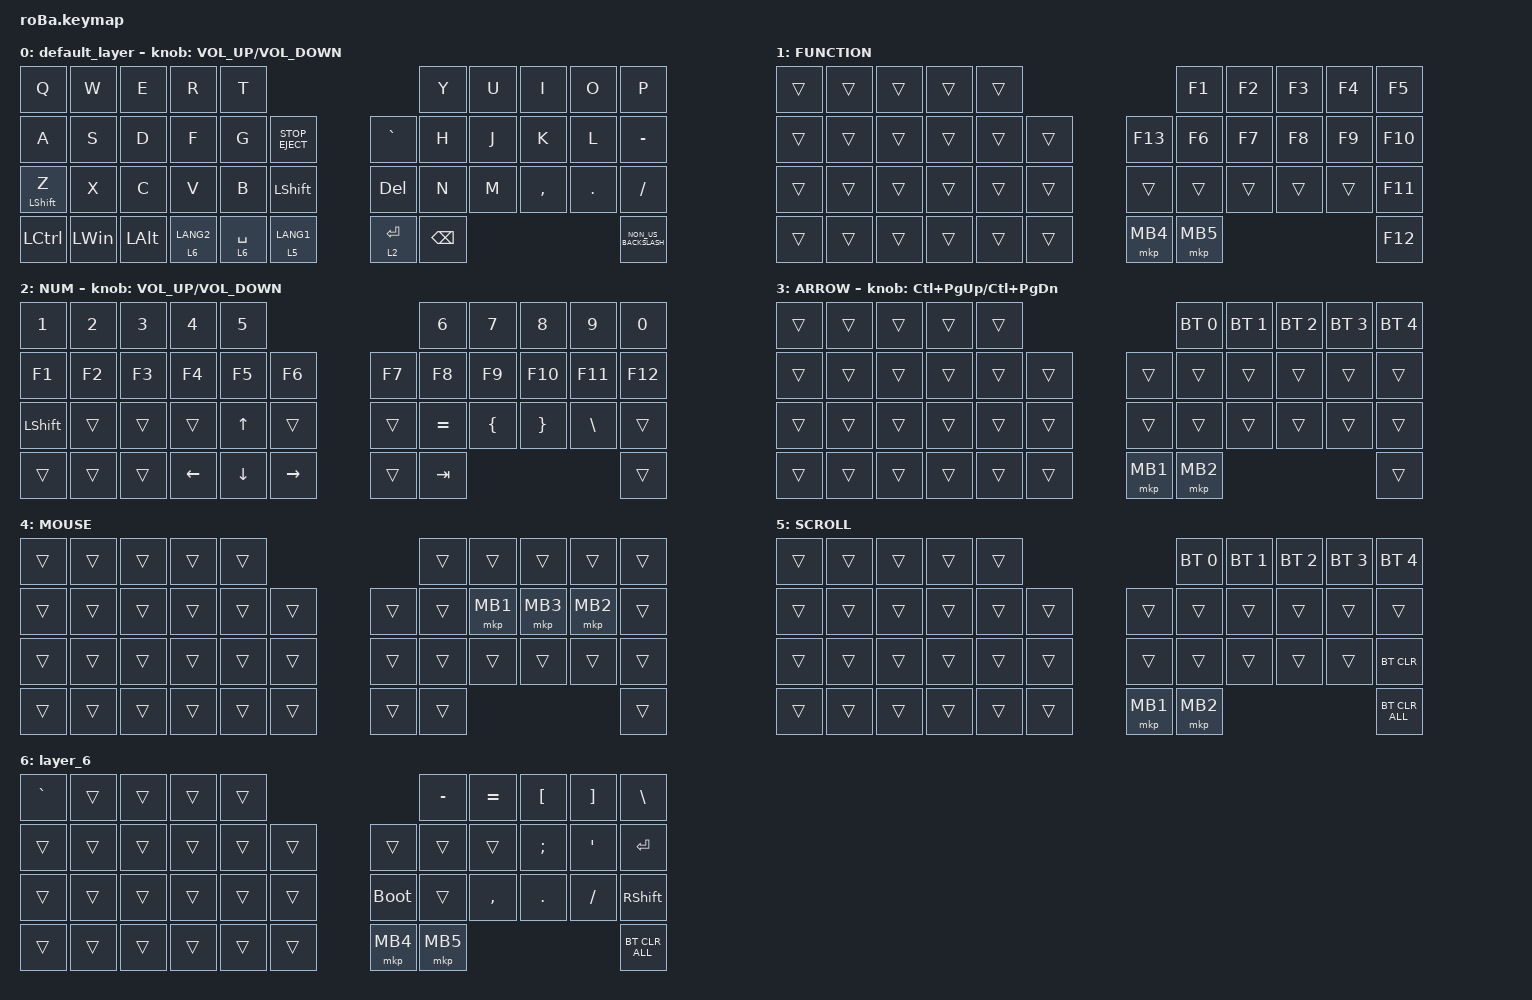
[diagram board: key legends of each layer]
#include <behaviors.dtsi>
#include <dt-bindings/zmk/bt.h>
#include <dt-bindings/zmk/keys.h>
#include <dt-bindings/zmk/pointing.h>

&mt {
    flavor = "balanced";
    quick-tap-ms = <0>;
};

&trackball {
    automouse-layer = <4>;
    scroll-layers = <5>;

    // arrows {
    //     layers = <3>;
    //     bindings =
    //         <&kp RIGHT_ARROW>,
    //         <&kp LEFT_ARROW>,
    //         <&kp UP_ARROW>,
    //         <&kp DOWN_ARROW>;
    //     tick = <10>;
    //     wait-ms = <5>;
    //     tap-ms = <5>;
    // };
};

/ {
    combos { compatible = "zmk,combos"; };

    macros {
        to_layer_0: to_layer_0 {
            compatible = "zmk,behavior-macro-one-param";
            #binding-cells = <1>;
            bindings = <&to 0 &macro_param_1to1 &kp MACRO_PLACEHOLDER>;
            label = "TO_LAYER_0";
        };
    };

    behaviors {
        lt_to_layer_0: lt_to_layer_0 {
            compatible = "zmk,behavior-hold-tap";
            label = "LAYER_TAP_TO_0";
            bindings = <&mo>, <&to_layer_0>;

            #binding-cells = <2>;
            tapping-term-ms = <200>;
        };
    };

    keymap {
        compatible = "zmk,keymap";

        default_layer {
            bindings = <
&kp Q             &kp W         &kp E         &kp R                   &kp T                                                                       &kp Y     &kp U  &kp I      &kp O    &kp P
&kp A             &kp S         &kp D         &kp F                   &kp G                   &kp C_STOP_EJECT            &kp GRAVE               &kp H     &kp J  &kp K      &kp L    &kp MINUS
&mt LEFT_SHIFT Z  &kp X         &kp C         &kp V                   &kp B                   &kp LEFT_SHIFT              &kp DEL                 &kp N     &kp M  &kp COMMA  &kp DOT  &kp SLASH
&kp LCTRL         &kp LEFT_WIN  &kp LEFT_ALT  &lt_to_layer_0 6 LANG2  &lt_to_layer_0 6 SPACE  &lt_to_layer_0 5 LANG1      &lt_to_layer_0 2 ENTER  &kp BSPC                             &kp NON_US_BACKSLASH
            >;

            sensor-bindings = <&inc_dec_kp C_VOL_UP C_VOLUME_DOWN>;
        };

        FUNCTION {
            bindings = <
&trans  &trans  &trans  &trans  &trans                        &kp F1    &kp F2  &kp F3  &kp F4  &kp F5
&trans  &trans  &trans  &trans  &trans  &trans      &kp F13   &kp F6    &kp F7  &kp F8  &kp F9  &kp F10
&trans  &trans  &trans  &trans  &trans  &trans      &trans    &trans    &trans  &trans  &trans  &kp F11
&trans  &trans  &trans  &trans  &trans  &trans      &mkp MB4  &mkp MB5                          &kp F12
            >;
        };

        NUM {
            bindings = <
&kp NUMBER_1    &kp NUMBER_2  &kp NUMBER_3  &kp NUMBER_4  &kp NUMBER_5                           &kp NUMBER_6  &kp NUMBER_7  &kp NUMBER_8  &kp NUMBER_9   &kp NUMBER_0
&kp F1          &kp F2        &kp F3        &kp F4        &kp F5          &kp F6         &kp F7  &kp F8        &kp F9        &kp F10       &kp F11        &kp F12
&kp LEFT_SHIFT  &trans        &trans        &trans        &kp UP_ARROW    &trans         &trans  &kp EQUAL     &kp LBRC      &kp RBRC      &kp BACKSLASH  &trans
&trans          &trans        &trans        &kp LEFT      &kp DOWN_ARROW  &kp RIGHT      &trans  &kp TAB                                                  &trans
            >;

            sensor-bindings = <&inc_dec_kp C_VOLUME_UP K_VOLUME_DOWN>;
        };

        ARROW {
            bindings = <
&trans  &trans  &trans  &trans  &trans                        &bt BT_SEL 0  &bt BT_SEL 1  &bt BT_SEL 2  &bt BT_SEL 3  &bt BT_SEL 4
&trans  &trans  &trans  &trans  &trans  &trans      &trans    &trans        &trans        &trans        &trans        &trans
&trans  &trans  &trans  &trans  &trans  &trans      &trans    &trans        &trans        &trans        &trans        &trans
&trans  &trans  &trans  &trans  &trans  &trans      &mkp MB1  &mkp MB2                                                &trans
            >;

            sensor-bindings = <&inc_dec_kp LC(PAGE_UP) LC(PAGE_DOWN)>;
        };

        MOUSE {
            bindings = <
&trans  &trans  &trans  &trans  &trans                      &trans  &trans    &trans    &trans    &trans
&trans  &trans  &trans  &trans  &trans  &trans      &trans  &trans  &mkp MB1  &mkp MB3  &mkp MB2  &trans
&trans  &trans  &trans  &trans  &trans  &trans      &trans  &trans  &trans    &trans    &trans    &trans
&trans  &trans  &trans  &trans  &trans  &trans      &trans  &trans                                &trans
            >;
        };

        SCROLL {
            bindings = <
&trans  &trans  &trans  &trans  &trans                        &bt BT_SEL 0  &bt BT_SEL 1  &bt BT_SEL 2  &bt BT_SEL 3  &bt BT_SEL 4
&trans  &trans  &trans  &trans  &trans  &trans      &trans    &trans        &trans        &trans        &trans        &trans
&trans  &trans  &trans  &trans  &trans  &trans      &trans    &trans        &trans        &trans        &trans        &bt BT_CLR
&trans  &trans  &trans  &trans  &trans  &trans      &mkp MB1  &mkp MB2                                                &bt BT_CLR_ALL
            >;
        };

        layer_6 {
            bindings = <
&kp GRAVE  &trans  &trans  &trans  &trans                           &kp MINUS  &kp EQUAL  &kp LEFT_BRACKET  &kp RIGHT_BRACKET  &kp BACKSLASH
&trans     &trans  &trans  &trans  &trans  &trans      &trans       &trans     &trans     &kp SEMI          &kp SQT            &kp ENTER
&trans     &trans  &trans  &trans  &trans  &trans      &bootloader  &trans     &kp COMMA  &kp PERIOD        &kp FSLH           &kp RSHFT
&trans     &trans  &trans  &trans  &trans  &trans      &mkp MB4     &mkp MB5                                                   &bt BT_CLR_ALL
            >;
        };
    };
};
